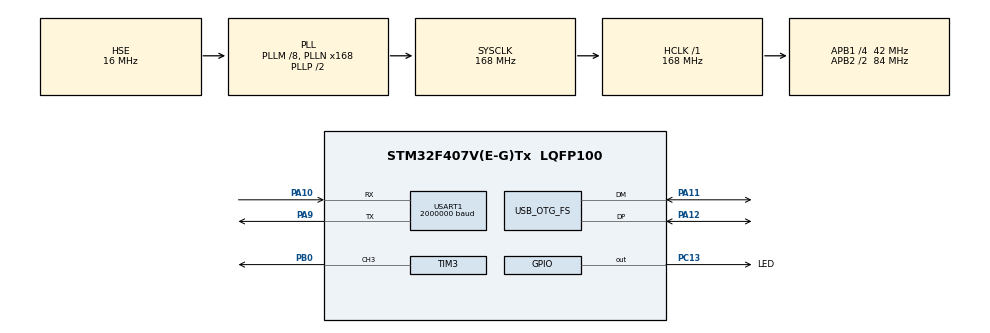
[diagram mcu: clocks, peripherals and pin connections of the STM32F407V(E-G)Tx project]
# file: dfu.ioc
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Dma.Request0=TIM3_CH3
Dma.TIM3_CH3.0.Direction=DMA_MEMORY_TO_PERIPH
Dma.TIM3_CH3.0.FIFOMode=DMA_FIFOMODE_DISABLE
Dma.TIM3_CH3.0.Instance=DMA1_Stream7
Dma.TIM3_CH3.0.MemDataAlignment=DMA_MDATAALIGN_HALFWORD
Dma.TIM3_CH3.0.MemInc=DMA_MINC_ENABLE
Dma.TIM3_CH3.0.Mode=DMA_CIRCULAR
Dma.TIM3_CH3.0.PeriphDataAlignment=DMA_PDATAALIGN_HALFWORD
Dma.TIM3_CH3.0.PeriphInc=DMA_PINC_DISABLE
Dma.TIM3_CH3.0.Priority=DMA_PRIORITY_LOW
Mcu.Family=STM32F4
Mcu.Name=STM32F407V(E-G)Tx
Mcu.Package=LQFP100
Mcu.UserConstants=LED_CNT,104;WASM_SIZE,32
NVIC.DMA1_Stream7_IRQn=true\:0\:0\:false\:false\:true\:false\:true\:true
NVIC.OTG_FS_IRQn=true\:0\:0\:false\:false\:true\:true\:false\:true
NVIC.PriorityGroup=NVIC_PRIORITYGROUP_4
NVIC.TIM8_TRG_COM_TIM14_IRQn=true\:15\:0\:false\:false\:true\:false\:true\:true
NVIC.TimeBase=TIM8_TRG_COM_TIM14_IRQn
NVIC.TimeBaseIP=TIM14
PA10.Mode=Asynchronous
PA10.Signal=USART1_RX
PA11.Mode=Device_Only
PA11.Signal=USB_OTG_FS_DM
PA12.Mode=Device_Only
PA12.Signal=USB_OTG_FS_DP
PA13.Mode=Trace_Asynchronous_SW
PA13.Signal=SYS_JTMS-SWDIO
PA14.Mode=Trace_Asynchronous_SW
PA14.Signal=SYS_JTCK-SWCLK
PA9.Mode=Asynchronous
PA9.Signal=USART1_TX
PB0.Signal=S_TIM3_CH3
PB3.Mode=Trace_Asynchronous_SW
PB3.Signal=SYS_JTDO-SWO
PC13-ANTI_TAMP.GPIO_Label=LED
PC13-ANTI_TAMP.Signal=GPIO_Output
PH0-OSC_IN.Mode=HSE-External-Oscillator
PH0-OSC_IN.Signal=RCC_OSC_IN
PH1-OSC_OUT.Mode=HSE-External-Oscillator
PH1-OSC_OUT.Signal=RCC_OSC_OUT
ProjectManager.HeapSize=0x200
ProjectManager.StackSize=0x400
ProjectManager.TargetToolchain=STM32CubeIDE
RCC.48MHZClocksFreq_Value=48000000
RCC.AHBFreq_Value=168000000
RCC.APB1CLKDivider=RCC_HCLK_DIV4
RCC.APB1Freq_Value=42000000
RCC.APB1TimFreq_Value=84000000
RCC.APB2CLKDivider=RCC_HCLK_DIV2
RCC.APB2Freq_Value=84000000
RCC.APB2TimFreq_Value=168000000
RCC.CortexFreq_Value=168000000
RCC.HCLKFreq_Value=168000000
RCC.HSE_VALUE=16000000
RCC.HSI_VALUE=16000000
RCC.LSE_VALUE=32768
RCC.PLLM=8
RCC.PLLN=168
RCC.PLLQ=7
RCC.SYSCLKFreq_VALUE=168000000
RCC.SYSCLKSource=RCC_SYSCLKSOURCE_PLLCLK
RCC.VCOOutputFreq_Value=336000000
SH.S_TIM3_CH3.0=TIM3_CH3,PWM Generation3 CH3
TIM13.Period=100 - 1
TIM13.Prescaler=84 - 1
TIM3.Channel-PWM\ Generation3\ CH3=TIM_CHANNEL_3
TIM3.Period=LED_CNT
TIM3.TIM_MasterOutputTrigger=TIM_TRGO_UPDATE
USART1.BaudRate=2000000
USART1.VirtualMode=VM_ASYNC
USB_OTG_FS.VirtualMode=Device_Only
VP_SYS_VS_tim14.Mode=TIM14
VP_TIM13_VS_ClockSourceINT.Mode=Enable_Timer
VP_TIM3_VS_ClockSourceINT.Mode=Internal
board=custom

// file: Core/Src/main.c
/* USER CODE BEGIN Header */
/**
 ******************************************************************************
 * @file           : main.c
 * @brief          : Main program body
 ******************************************************************************
 * @attention
 *
 * Copyright (c) 2026 STM32World <lth@stm23world.com>
 * All rights reserved.
 *
 * This software is licensed under terms that can be found in the LICENSE file
 * in the root directory of this software component.
 * If no LICENSE file comes with this software, it is provided AS-IS.
 *
 ******************************************************************************
 */
/* USER CODE END Header */
#include "main.h"

/* USER CODE BEGIN Includes */
#include <stdlib.h>
#include <stdio.h>

#include "tusb.h"

#include "wasm3.h"
#include "m3_env.h"

#include "ws2812.h"
/* USER CODE END Includes */

TIM_HandleTypeDef htim3;
TIM_HandleTypeDef htim13;
DMA_HandleTypeDef hdma_tim3_ch3;

UART_HandleTypeDef huart1;

PCD_HandleTypeDef hpcd_USB_OTG_FS;

/* USER CODE BEGIN PV */

// Counter updated from high freq timer

ws2812_handleTypeDef ws2812; // The WS2812 panel handler

uint8_t wasm_stack[2 * 1024] __attribute__((aligned(8))); // 2KB for the Wasm stack/internal use

uint8_t wasm_buffer[32 * 1024] __attribute__((aligned(4)));
uint32_t wasm_file_size = 0;
uint32_t _dfu_start_address = 0;
volatile bool wasm_ready = false;
volatile bool upload_in_progress = false;
volatile bool wasm_should_stop = false;

unsigned char test_wasm[] = { 0x00, 0x61, 0x73, 0x6d, 0x01, 0x00, 0x00, 0x00,
        0x01, 0x07, 0x01, 0x60, 0x02, 0x7f, 0x7f, 0x01, 0x7f, 0x03, 0x02, 0x01,
        0x00, 0x07, 0x07, 0x01, 0x03, 0x61, 0x64, 0x64, 0x00, 0x00, 0x0a, 0x09,
        0x01, 0x07, 0x00, 0x20, 0x00, 0x20, 0x01, 0x6a, 0x0b };

/* USER CODE END PV */

void SystemClock_Config(void);
static void MX_GPIO_Init(void);
static void MX_DMA_Init(void);
static void MX_USART1_UART_Init(void);
static void MX_TIM13_Init(void);
static void MX_TIM3_Init(void);
static void MX_USB_OTG_FS_PCD_Init(void);
/* USER CODE BEGIN PFP */
void startWasmTask(void *argument);

/* USER CODE END PFP */

/* USER CODE BEGIN 0 */

// Send printf to uart1
int __io_putchar(int ch) {
    if (ch == '\n') {
        HAL_UART_Transmit(&huart1, (uint8_t*) "\r", 1, HAL_MAX_DELAY);
    }
    if (HAL_UART_Transmit(&huart1, (uint8_t*) &ch, 1, HAL_MAX_DELAY)
            != HAL_OK) {
        return -1;
    }
    return ch;
}

void configureTimerForRunTimeStats(void) {
    ulHighFrequencyTimerTicks = 0;
    HAL_TIM_Base_Start_IT(&htim13);
}

unsigned long getRunTimeCounterValue(void) {
    return ulHighFrequencyTimerTicks;
}

// Done sending first half of the DMA buffer - this can now safely be updated
void HAL_TIM_PWM_PulseFinishedHalfCpltCallback(TIM_HandleTypeDef *htim) {

    if (htim->Instance == TIM3) {
        ws2812_update_buffer(&ws2812, &ws2812.dma_buffer[0]);
    }

}

// Done sending the second half of the DMA buffer - this can now be safely updated
void HAL_TIM_PWM_PulseFinishedCallback(TIM_HandleTypeDef *htim) {

    if (htim->Instance == TIM3) {
        ws2812_update_buffer(&ws2812, &ws2812.dma_buffer[BUFFER_SIZE]);
    }

}

//--------------------------------------------------------------------+
// DFU Callbacks
//--------------------------------------------------------------------+

void tud_dfu_download_cb(uint8_t alt, uint16_t block_num, uint8_t const *data,
        uint16_t length) {
    (void) alt;

    // --- DfuSe Special Command Handling (Block 0) ---
    if (block_num == 0) {

        if (length > 0) {

            if (!upload_in_progress) {
            //    uint16_t wasm_cmd = 1;
            //    osMessageQueuePut(wasmCtlQueueHandle, &wasm_cmd, 0,
            //            osWaitForever);
            //    upload_in_progress = true;
            }

            if (data[0] == 0x21 && length >= 5) {
                _dfu_start_address = data[1] | (data[2] << 8) | (data[3] << 16)
                        | (data[4] << 24);
            }
            // Pass DFU_STATUS_OK to acknowledge the command
            tud_dfu_finish_flashing(DFU_STATUS_OK);
        }
        return;
    }

    // --- Normal Data Download ---
    if (block_num >= 2) {
        uint32_t offset = (block_num - 2) * CFG_TUD_DFU_XFER_BUFSIZE;

        if (offset + length <= sizeof(wasm_buffer)) {
            memcpy(wasm_buffer + offset, data, length);
            wasm_file_size = offset + length;

            // Success!
            tud_dfu_finish_flashing(DFU_STATUS_OK);
        } else {
            // Buffer overflow - tell the host something went wrong
            tud_dfu_finish_flashing(DFU_STATUS_ERR_ADDRESS);
        }
    }
}

void tud_dfu_get_status_cb(uint8_t alt, uint8_t *status) {
    (void) alt;
    // Let TinyUSB fill status[4] (state) automatically
    status[0] = DFU_STATUS_OK;
    status[1] = 10; // bwPollTimeout (10ms)
    status[2] = 0;
    status[3] = 0;
}

uint32_t tud_dfu_get_timeout_cb(uint8_t alt, uint8_t state) {
    (void) alt;
    // Return a non-zero timeout when busy to let the host poll
    if (state == DFU_DNBUSY)
        return 10;
    return 0;
}

void tud_dfu_manifest_cb(uint8_t alt) {
    (void) alt;
    wasm_ready = true;
    upload_in_progress = false;
    uint16_t wasm_cmd = 2;

    //osMessageQueuePut(wasmCtlQueueHandle, &wasm_cmd, 0, osWaitForever);
}

void tud_dfu_runtime_reboot_to_dfu_cb(void) {
}

m3ApiRawFunction(host_delay) {
    m3ApiGetArg(uint32_t, ms);

    // If the DFU task signaled a stop, don't delay—just die.
    if (wasm_should_stop) {
        m3ApiTrap(m3Err_trapAbort);
    }

    osDelay(ms);
    m3ApiSuccess();
}

m3ApiRawFunction(host_set_led)
{
    m3ApiGetArg(uint32_t, led);
    m3ApiGetArg(uint32_t, r);
    m3ApiGetArg(uint32_t, g);
    m3ApiGetArg(uint32_t, b);

    osMutexWait(ws2812MutexHandle, osWaitForever);
    setLedValues(&ws2812, led, r, g, b);
    osMutexRelease(ws2812MutexHandle);

    m3ApiSuccess();
}

m3ApiRawFunction(host_zero_led_values)
{
    osMutexWait(ws2812MutexHandle, osWaitForever);
    zeroLedValues(&ws2812);
    osMutexRelease(ws2812MutexHandle);

    m3ApiSuccess();
}

/* USER CODE END 0 */

int main(void)
{

    /* MCU Configuration--------------------------------------------------------*/

    /* Reset of all peripherals, Initializes the Flash interface and the Systick. */
    HAL_Init();

    /* Configure the system clock */
    SystemClock_Config();

    /* Initialize all configured peripherals */
    MX_GPIO_Init();
    MX_DMA_Init();
    MX_USART1_UART_Init();
    MX_TIM13_Init();
    MX_TIM3_Init();
    MX_USB_OTG_FS_PCD_Init();
    /* USER CODE BEGIN 2 */

    printf("\n\n\n\nStarting WASM demo\n");

    printf("Firing up ws2812\n");
    ws2812_init(&ws2812, &htim3, TIM_CHANNEL_3, 512);
    zeroLedValues(&ws2812);

    //setLedValues(&ws2812, 0, 10, 0, 10);

    //run_wasm();

    /* USER CODE END 2 */

    /* Infinite loop */
    while (1) {

    }
}

void SystemClock_Config(void)
{
    RCC_OscInitTypeDef RCC_OscInitStruct = { 0 };
    RCC_ClkInitTypeDef RCC_ClkInitStruct = { 0 };

    /** Configure the main internal regulator output voltage
     */
    __HAL_RCC_PWR_CLK_ENABLE();
    __HAL_PWR_VOLTAGESCALING_CONFIG(PWR_REGULATOR_VOLTAGE_SCALE1);

    /** Initializes the RCC Oscillators according to the specified parameters
     * in the RCC_OscInitTypeDef structure.
     */
    RCC_OscInitStruct.OscillatorType = RCC_OSCILLATORTYPE_HSE;
    RCC_OscInitStruct.HSEState = RCC_HSE_ON;
    RCC_OscInitStruct.PLL.PLLState = RCC_PLL_ON;
    RCC_OscInitStruct.PLL.PLLSource = RCC_PLLSOURCE_HSE;
    RCC_OscInitStruct.PLL.PLLM = 8;
    RCC_OscInitStruct.PLL.PLLN = 168;
    RCC_OscInitStruct.PLL.PLLP = RCC_PLLP_DIV2;
    RCC_OscInitStruct.PLL.PLLQ = 7;
    if (HAL_RCC_OscConfig(&RCC_OscInitStruct) != HAL_OK)
            {
        Error_Handler();
    }

    /** Initializes the CPU, AHB and APB buses clocks
     */
    RCC_ClkInitStruct.ClockType = RCC_CLOCKTYPE_HCLK | RCC_CLOCKTYPE_SYSCLK
            | RCC_CLOCKTYPE_PCLK1 | RCC_CLOCKTYPE_PCLK2;
    RCC_ClkInitStruct.SYSCLKSource = RCC_SYSCLKSOURCE_PLLCLK;
    RCC_ClkInitStruct.AHBCLKDivider = RCC_SYSCLK_DIV1;
    RCC_ClkInitStruct.APB1CLKDivider = RCC_HCLK_DIV4;
    RCC_ClkInitStruct.APB2CLKDivider = RCC_HCLK_DIV2;

    if (HAL_RCC_ClockConfig(&RCC_ClkInitStruct, FLASH_LATENCY_5) != HAL_OK)
            {
        Error_Handler();
    }
}

static void MX_TIM3_Init(void)
{

    TIM_ClockConfigTypeDef sClockSourceConfig = { 0 };
    TIM_MasterConfigTypeDef sMasterConfig = { 0 };
    TIM_OC_InitTypeDef sConfigOC = { 0 };

    htim3.Instance = TIM3;
    htim3.Init.Prescaler = 0;
    htim3.Init.CounterMode = TIM_COUNTERMODE_UP;
    htim3.Init.Period = LED_CNT;
    htim3.Init.ClockDivision = TIM_CLOCKDIVISION_DIV1;
    htim3.Init.AutoReloadPreload = TIM_AUTORELOAD_PRELOAD_DISABLE;
    if (HAL_TIM_Base_Init(&htim3) != HAL_OK)
            {
        Error_Handler();
    }
    sClockSourceConfig.ClockSource = TIM_CLOCKSOURCE_INTERNAL;
    if (HAL_TIM_ConfigClockSource(&htim3, &sClockSourceConfig) != HAL_OK)
            {
        Error_Handler();
    }
    if (HAL_TIM_PWM_Init(&htim3) != HAL_OK)
            {
        Error_Handler();
    }
    sMasterConfig.MasterOutputTrigger = TIM_TRGO_UPDATE;
    sMasterConfig.MasterSlaveMode = TIM_MASTERSLAVEMODE_DISABLE;
    if (HAL_TIMEx_MasterConfigSynchronization(&htim3, &sMasterConfig) != HAL_OK)
            {
        Error_Handler();
    }
    sConfigOC.OCMode = TIM_OCMODE_PWM1;
    sConfigOC.Pulse = 0;
    sConfigOC.OCPolarity = TIM_OCPOLARITY_HIGH;
    sConfigOC.OCFastMode = TIM_OCFAST_DISABLE;
    if (HAL_TIM_PWM_ConfigChannel(&htim3, &sConfigOC, TIM_CHANNEL_3) != HAL_OK)
            {
        Error_Handler();
    }
    HAL_TIM_MspPostInit(&htim3);

}

static void MX_TIM13_Init(void)
{

    htim13.Instance = TIM13;
    htim13.Init.Prescaler = 84 - 1;
    htim13.Init.CounterMode = TIM_COUNTERMODE_UP;
    htim13.Init.Period = 100 - 1;
    htim13.Init.ClockDivision = TIM_CLOCKDIVISION_DIV1;
    htim13.Init.AutoReloadPreload = TIM_AUTORELOAD_PRELOAD_DISABLE;
    if (HAL_TIM_Base_Init(&htim13) != HAL_OK)
            {
        Error_Handler();
    }

}

static void MX_USART1_UART_Init(void)
{

    huart1.Instance = USART1;
    huart1.Init.BaudRate = 2000000;
    huart1.Init.WordLength = UART_WORDLENGTH_8B;
    huart1.Init.StopBits = UART_STOPBITS_1;
    huart1.Init.Parity = UART_PARITY_NONE;
    huart1.Init.Mode = UART_MODE_TX_RX;
    huart1.Init.HwFlowCtl = UART_HWCONTROL_NONE;
    huart1.Init.OverSampling = UART_OVERSAMPLING_16;
    if (HAL_UART_Init(&huart1) != HAL_OK)
            {
        Error_Handler();
    }

}

static void MX_USB_OTG_FS_PCD_Init(void)
{

    hpcd_USB_OTG_FS.Instance = USB_OTG_FS;
    hpcd_USB_OTG_FS.Init.dev_endpoints = 4;
    hpcd_USB_OTG_FS.Init.speed = PCD_SPEED_FULL;
    hpcd_USB_OTG_FS.Init.dma_enable = DISABLE;
    hpcd_USB_OTG_FS.Init.phy_itface = PCD_PHY_EMBEDDED;
    hpcd_USB_OTG_FS.Init.Sof_enable = DISABLE;
    hpcd_USB_OTG_FS.Init.low_power_enable = DISABLE;
    hpcd_USB_OTG_FS.Init.lpm_enable = DISABLE;
    hpcd_USB_OTG_FS.Init.vbus_sensing_enable = DISABLE;
    hpcd_USB_OTG_FS.Init.use_dedicated_ep1 = DISABLE;
    if (HAL_PCD_Init(&hpcd_USB_OTG_FS) != HAL_OK)
            {
        Error_Handler();
    }

}

static void MX_DMA_Init(void)
{

    /* DMA controller clock enable */
    __HAL_RCC_DMA1_CLK_ENABLE();

    /* DMA interrupt init */
    /* DMA1_Stream7_IRQn interrupt configuration */
    HAL_NVIC_SetPriority(DMA1_Stream7_IRQn, 0, 0);
    HAL_NVIC_EnableIRQ(DMA1_Stream7_IRQn);

}

static void MX_GPIO_Init(void)
{
    GPIO_InitTypeDef GPIO_InitStruct = { 0 };

    /* GPIO Ports Clock Enable */
    __HAL_RCC_GPIOC_CLK_ENABLE();
    __HAL_RCC_GPIOH_CLK_ENABLE();
    __HAL_RCC_GPIOB_CLK_ENABLE();
    __HAL_RCC_GPIOA_CLK_ENABLE();

    /*Configure GPIO pin Output Level */
    HAL_GPIO_WritePin(LED_GPIO_Port, LED_Pin, GPIO_PIN_RESET);

    /*Configure GPIO pin : LED_Pin */
    GPIO_InitStruct.Pin = LED_Pin;
    GPIO_InitStruct.Mode = GPIO_MODE_OUTPUT_PP;
    GPIO_InitStruct.Pull = GPIO_NOPULL;
    GPIO_InitStruct.Speed = GPIO_SPEED_FREQ_LOW;
    HAL_GPIO_Init(LED_GPIO_Port, &GPIO_InitStruct);

}

/* USER CODE BEGIN 4 */
void startWasmTask(void *argument) {
    M3Result result = m3Err_none;

    osDelay(50); // Settlement delay

    if (osMutexAcquire(printMutexHandle, 100) == osOK) {
        printf("Wasm: Starting... (%lu bytes)\n", wasm_file_size);
        osMutexRelease(printMutexHandle);
    }

    // 1. Validate Header and Size
    if (wasm_file_size >= 8 && wasm_buffer[0] == 0x00 && wasm_buffer[1] == 0x61) {

        IM3Environment env = m3_NewEnvironment();
        if (env) {
            IM3Runtime runtime = m3_NewRuntime(env, 1024, NULL);
            if (runtime) {
                IM3Module module;
                result = m3_ParseModule(env, &module, wasm_buffer, wasm_file_size);

                if (result == m3Err_none) {
                    m3_LoadModule(runtime, module);
                    m3_LinkRawFunction(module, "env", "host_delay", "v(i)", host_delay);
                    m3_LinkRawFunction(module, "env", "host_set_led", "v(iiii)", host_set_led);
                    m3_LinkRawFunction(module, "env", "host_zero_led_values", "v()", host_zero_led_values);

                    IM3Function f;
                    result = m3_FindFunction(&f, runtime, "demo");
                    if (result == m3Err_none) {
                        if (osMutexAcquire(printMutexHandle, 100) == osOK) {
                            printf("Wasm: demo() found. Entering loop...\n");
                            osMutexRelease(printMutexHandle);
                        }
                        // Execution blocks here in the demo loop
                        result = m3_CallArgv(f, 0, NULL);
                    } else {
                        if (osMutexAcquire(printMutexHandle, 100) == osOK) {
                            printf("Wasm: Error - 'demo' not found: %s\n", result);
                            osMutexRelease(printMutexHandle);
                        }
                    }
                } else {
                    if (osMutexAcquire(printMutexHandle, 100) == osOK) {
                        printf("Wasm: Parse Error: %s\n", result);
                        osMutexRelease(printMutexHandle);
                    }
                }

                // Cleanup Runtime
                m3_FreeRuntime(runtime);
            }
            // Cleanup Environment
            m3_FreeEnvironment(env);
        }
    } else {
        if (osMutexAcquire(printMutexHandle, 100) == osOK) {
            printf("Wasm: Invalid Header or empty buffer\n");
            osMutexRelease(printMutexHandle);
        }
    }

    // 3. Final Report
    if (osMutexAcquire(printMutexHandle, 100) == osOK) {
        if (result && result != m3Err_trapAbort) {
            printf("Wasm: Finished with error: %s\n", result);
        } else {
            printf("Wasm: Task Cleanly Finished\n");
        }
        osMutexRelease(printMutexHandle);
    }

    wasmTaskHandle = NULL;
    vTaskDelete(NULL);
}
/* USER CODE END 4 */

void HAL_TIM_PeriodElapsedCallback(TIM_HandleTypeDef *htim)
{
    if (htim->Instance == TIM14)
    {
        HAL_IncTick();
    }
}

void Error_Handler(void)
{
    __disable_irq();
    while (1) {
    }
}
